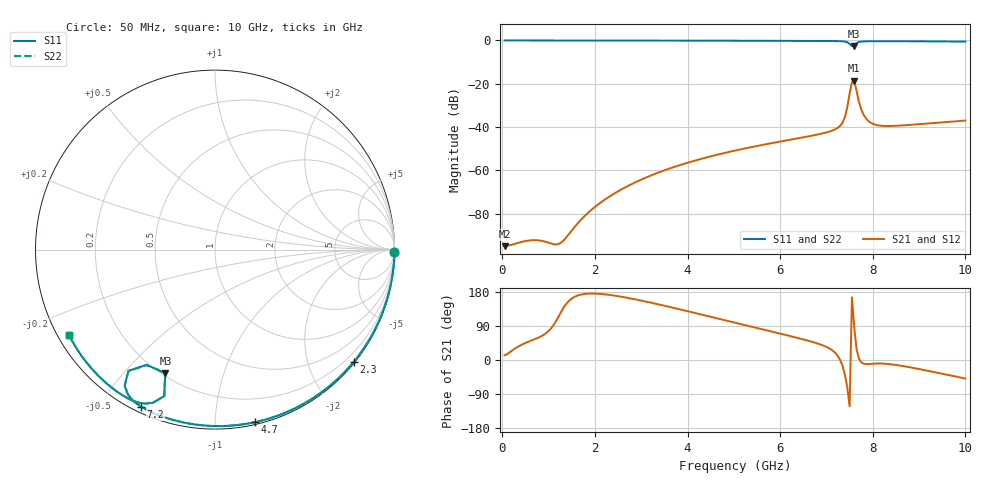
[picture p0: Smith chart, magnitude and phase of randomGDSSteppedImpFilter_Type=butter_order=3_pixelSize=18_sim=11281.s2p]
! freq	dB(S11)	phase(S11)	dB(S12)	phase(S12)
!  dB(S21)	phase(S21)	dB(S22)	phase(S22)
!S-par simulation data
#  GHz  S  DB  R 50
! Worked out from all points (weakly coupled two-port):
!   200 points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, 50 MHz to 10 GHz, reference 50 ohm
!   highest |S21| = -18.54 dB at 7.6 GHz (marker M1); lowest = -95.0 dB at 50 MHz (marker M2)
!   lowest |S11| = -2.6 dB at 7.6 GHz (marker M3), VSWR 6.79, Z = 10.6 - j32.8 ohm
!   |S11| at or under -10 dB: nowhere
!   |S22| runs from -2.6 to 0.0 dB; largest |S21 - S12| = 0
!   S11 on the Smith chart (normalised r, x): 50 MHz: open; 2.3 GHz: 0.03, -2.82; 4.7 GHz: 0.02, -1.26; 7.2 GHz: 0.02, -0.63; 10 GHz: 0.03, -0.27
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0.05  -0.00 -0.9  -94.98 12.5  -94.98 12.5  -0.00 -0.9
1.75  -0.04 -29.9  -81.65 173.8  -81.65 173.8  -0.04 -29.9
1.85  -0.04 -31.6  -79.60 175.1  -79.60 175.1  -0.04 -31.6
2.3  -0.05 -39.1  -72.24 172.1  -72.24 172.1  -0.05 -39.1
2.8  -0.06 -47.2  -66.24 161.8  -66.24 161.8  -0.06 -47.2
3.4  -0.08 -56.9  -60.75 146.1  -60.75 146.1  -0.08 -56.9
4.7  -0.11 -77.0  -52.45 108.1  -52.45 108.1  -0.11 -77.0
5.05  -0.13 -82.2  -50.73 97.7  -50.73 97.7  -0.13 -82.2
6.7  -0.21 -106.6  -43.91 47.6  -43.91 47.6  -0.21 -106.6
7.2  -0.29 -115.2  -40.90 17.5  -40.90 17.5  -0.29 -115.2
7.3  -0.34 -117.6  -39.31 -1.1  -39.31 -1.1  -0.34 -117.6
7.4  -0.53 -121.1  -35.26 -39.6  -35.26 -39.6  -0.52 -121.0
7.45  -0.82 -123.6  -30.84 -72.8  -30.84 -72.8  -0.81 -123.5
7.5  -1.62 -125.5  -24.46 -122.4  -24.46 -122.4  -1.59 -125.5
7.55  -2.55 -120.6  -19.28 165.4  -19.28 165.4  -2.49 -121.0
7.6  -2.58 -111.8  -18.54 86.0  -18.54 86.0  -2.65 -112.2
7.65  -1.26 -109.2  -23.25 28.2  -23.25 28.2  -1.30 -109.1
7.75  -0.52 -114.5  -31.74 -5.8  -31.74 -5.8  -0.52 -114.4
7.85  -0.39 -117.6  -35.90 -10.7  -35.90 -10.7  -0.39 -117.6
8.05  -0.34 -121.7  -38.88 -9.4  -38.88 -9.4  -0.34 -121.7
8.35  -0.35 -126.6  -39.50 -10.7  -39.50 -10.7  -0.35 -126.6
10  -0.51 -149.9  -36.99 -48.8  -36.99 -48.8  -0.51 -149.8
